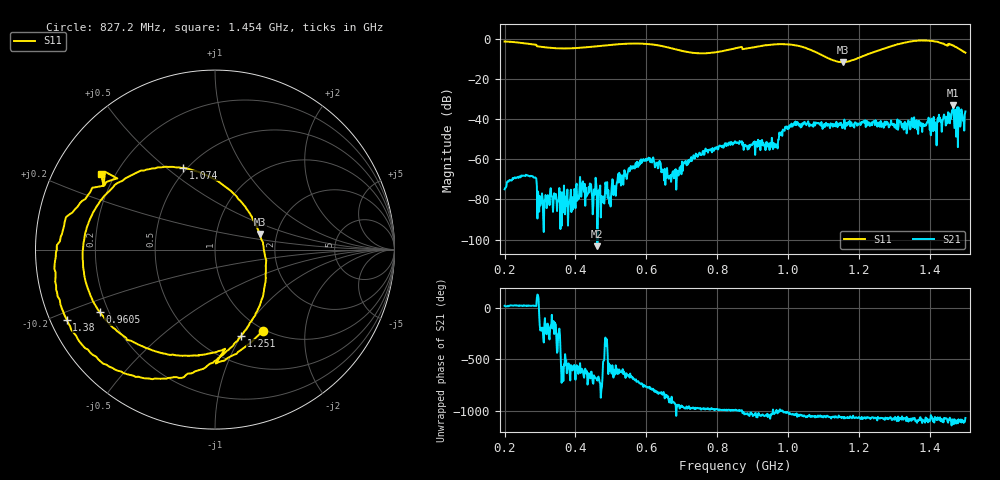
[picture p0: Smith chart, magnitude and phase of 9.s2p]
! NanoVNA-App
! Date: 2024-06-25 16:50:05
! Start: 200MHz Stop: 1.5GHz Points: 801
! S-Parameter data: F S11 S21 S12 S22
# Hz S RI R 50
!  Frequency  S11_Real  S11_Imag  S21_Real  S21_Imag  S12_Real  S12_Imag  S22_Real  S22_Imag
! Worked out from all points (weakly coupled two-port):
!   801 points, 200 MHz to 1.5 GHz, reference 50 ohm
!   highest |S21| = -33.12 dB at 1.466 GHz (marker M1); lowest = -103.3 dB at 461.6 MHz (marker M2)
!   lowest |S11| = -11.6 dB at 1.154 GHz (marker M3), VSWR 1.72, Z = 81.3 + j15.3 ohm
!   |S11| at or under -10 dB: 1.118 GHz to 1.191 GHz (73.44 MHz wide, 6.36 % of centre)
!   S12 and S22 are empty: the file has one direction only
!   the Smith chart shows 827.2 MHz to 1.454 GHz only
!   S11 on the Smith chart (normalised r, x): 827.2 MHz: 0.97, -1.22; 960.5 MHz: 0.17, -0.25; 1.074 GHz: 0.48, +0.57; 1.251 GHz: 0.77, -1.00; 1.38 GHz: 0.05, -0.22; 1.454 GHz: 0.15, +0.30
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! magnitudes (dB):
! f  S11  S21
! 200 MHz  -1.3  -74.9
! 258.5 MHz  -2.2  -68.4
! 307.2 MHz  -4.0  -79.6
! 417.8 MHz  -4.3  -75.1
! 461.6 MHz  -3.6  -103.3
! 494.1 MHz  -3.1  -78.8
! 591.6 MHz  -2.4  -59.9
! 633.9 MHz  -3.2  -64.3
! 684.2 MHz  -5.3  -75.1
! 827.2 MHz  -5.6  -52.0
! 850 MHz  -4.7  -51.0
! 960.5 MHz  -2.7  -52.4
! 997.9 MHz  -2.7  -45.0
! 1.068 GHz  -5.8  -42.8
! 1.074 GHz  -6.2  -41.7
! 1.154 GHz  -11.6  -43.0
! 1.251 GHz  -5.9  -43.7
! 1.284 GHz  -4.0  -44.1
! 1.38 GHz  -0.8  -42.1
! 1.454 GHz  -2.4  -37.1
! 1.466 GHz  -3.3  -33.1
! 1.5 GHz  -6.8  -36.1
